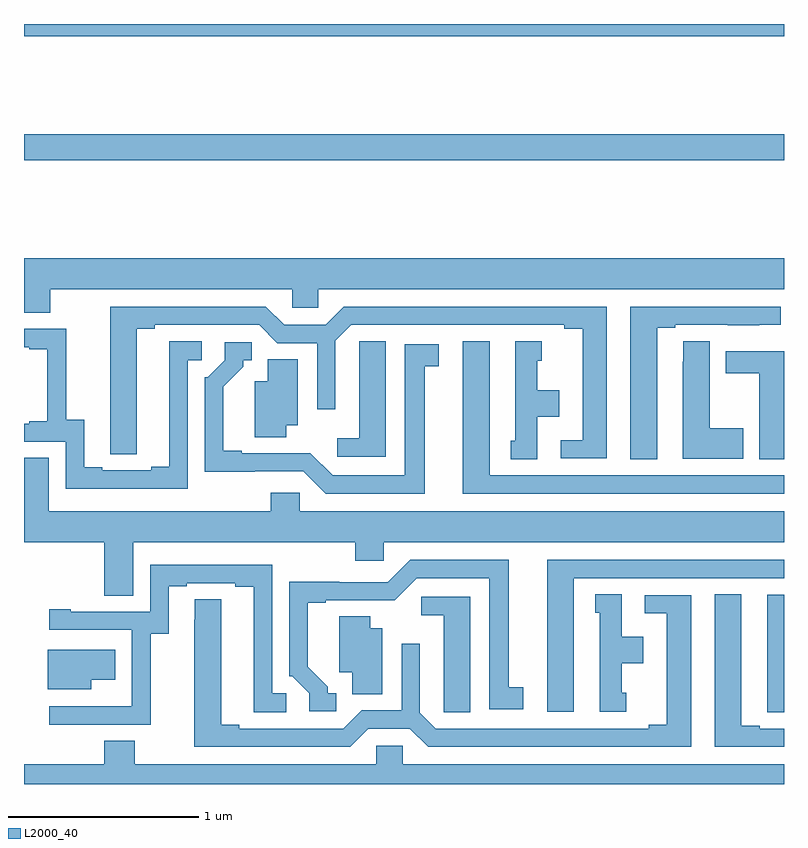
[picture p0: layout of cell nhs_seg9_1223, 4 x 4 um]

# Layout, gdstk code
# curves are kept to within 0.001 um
import gdstk
lib = gdstk.Library(unit=1e-6, precision=1e-09)
def R(c, l, rs):  # rectangles x0, y0, x1, y1
    for r in rs: c.add(gdstk.rectangle(r[:2], r[2:], *l))
def P(c, l, *ps):  # polygons
    for p in ps: c.add(gdstk.Polygon(p, *l))
L2000_40 = (2000, 40)

nhs_seg9_1223 = lib.new_cell('nhs_seg9_1223')
R(nhs_seg9_1223, L2000_40, [(179,1179.784,183,1179.92), (179,1180.436,183,1180.5)])
P(nhs_seg9_1223, L2000_40, [(179.139,1179.104),(180.411,1179.104),(180.411,1179.006),(180.549,1179.006),(180.549,1179.104),(183,1179.104),(183,1179.268),(179,1179.268),(179,1178.98),(179.139,1178.98)],
  [(182.332,1178.901),(182.428,1178.901),(182.428,1178.916),(182.704,1178.916),(182.704,1178.915),(182.87,1178.915),(182.87,1178.916),(182.983,1178.916),(182.983,1179.012),(182.192,1179.012),(182.192,1178.209),(182.332,1178.209)],
  [(182.068,1179.012),(180.683,1179.012),(180.587,1178.916),(180.369,1178.916),(180.273,1179.012),(179.453,1179.012),(179.454,1178.236),(179.593,1178.236),(179.593,1178.896),(179.689,1178.896),(179.689,1178.916),(180.237,1178.916),(180.333,1178.82),(180.543,1178.82),(180.543,1178.472),(180.639,1178.472),(180.639,1178.832),(180.723,1178.916),(181.844,1178.916),(181.844,1178.896),(181.94,1178.896),(181.94,1178.31),(181.824,1178.31),(181.824,1178.214),(182.068,1178.214)],
  [(179.862,1178.73),(179.935,1178.73),(179.935,1178.831),(179.765,1178.831),(179.765,1178.171),(179.669,1178.171),(179.669,1178.151),(179.413,1178.151),(179.413,1178.166),(179.317,1178.166),(179.317,1178.417),(179.223,1178.417),(179.223,1178.895),(179,1178.895),(179,1178.799),(179.027,1178.799),(179.027,1178.787),(179.123,1178.787),(179.123,1178.41),(179.027,1178.41),(179.027,1178.397),(179,1178.397),(179,1178.301),(179.22,1178.301),(179.22,1178.055),(179.862,1178.055)],
  [(180.904,1178.831),(180.765,1178.831),(180.765,1178.723),(180.764,1178.723),(180.764,1178.32),(180.648,1178.32),(180.648,1178.223),(180.904,1178.223)],
  [(182.785,1178.373),(182.608,1178.373),(182.608,1178.831),(182.469,1178.831),(182.469,1178.723),(182.468,1178.723),(182.468,1178.213),(182.785,1178.213)],
  [(181.702,1178.432),(181.816,1178.432),(181.816,1178.572),(181.702,1178.572),(181.702,1178.727),(181.726,1178.727),(181.726,1178.83),(181.586,1178.83),(181.586,1178.307),(181.562,1178.307),(181.562,1178.209),(181.702,1178.209)],
  [(183,1178.124),(181.45,1178.124),(181.45,1178.83),(181.31,1178.83),(181.31,1178.028),(183,1178.028)],
  [(181.108,1178.698),(181.183,1178.698),(181.183,1178.814),(181.004,1178.814),(181.004,1178.124),(180.624,1178.124),(180.506,1178.242),(180.145,1178.241),(180.145,1178.254),(180.049,1178.254),(180.049,1178.59),(180.154,1178.695),(180.154,1178.73),(180.199,1178.73),(180.199,1178.826),(180.057,1178.826),(180.057,1178.73),(179.967,1178.64),(179.952,1178.64),(179.952,1178.144),(180.471,1178.145),(180.588,1178.028),(181.108,1178.028)],
  [(183,1178.778),(182.693,1178.778),(182.693,1178.662),(182.87,1178.662),(182.87,1178.209),(183,1178.209)],
  [(180.379,1178.387),(180.442,1178.387),(180.442,1178.735),(180.284,1178.735),(180.284,1178.62),(180.215,1178.62),(180.215,1178.326),(180.379,1178.326)],
  [(179.575,1177.772),(180.743,1177.772),(180.743,1177.674),(180.894,1177.674),(180.894,1177.772),(183,1177.772),(183,1177.936),(180.45,1177.936),(180.45,1178.034),(180.299,1178.034),(180.299,1177.936),(179.131,1177.936),(179.131,1178.216),(179,1178.216),(179,1177.772),(179.423,1177.772),(179.423,1177.492),(179.575,1177.492)],
  [(180.643,1176.978),(180.598,1176.978),(180.598,1177.013),(180.493,1177.118),(180.493,1177.455),(180.589,1177.455),(180.589,1177.467),(180.95,1177.466),(181.068,1177.584),(181.448,1177.584),(181.448,1176.894),(181.627,1176.894),(181.627,1177.01),(181.552,1177.01),(181.552,1177.68),(181.032,1177.68),(180.915,1177.563),(180.659,1177.563),(180.659,1177.565),(180.396,1177.565),(180.396,1177.068),(180.411,1177.068),(180.501,1176.978),(180.501,1176.882),(180.643,1176.882)],
  [(181.894,1177.584),(183,1177.584),(183,1177.68),(181.754,1177.68),(181.754,1176.879),(181.894,1176.879)],
  [(179.667,1177.291),(179.761,1177.291),(179.761,1177.542),(179.857,1177.542),(179.857,1177.557),(180.113,1177.557),(180.113,1177.537),(180.209,1177.537),(180.209,1176.877),(180.379,1176.877),(180.379,1176.978),(180.306,1176.978),(180.306,1177.653),(179.664,1177.653),(179.664,1177.407),(179.245,1177.407),(179.245,1177.42),(179.133,1177.42),(179.133,1177.311),(179.568,1177.311),(179.568,1176.91),(179.567,1176.91),(179.567,1176.909),(179.133,1176.909),(179.133,1176.813),(179.667,1176.813)],
  [(182.17,1176.981),(182.146,1176.981),(182.146,1177.136),(182.26,1177.136),(182.26,1177.276),(182.146,1177.276),(182.146,1177.499),(182.006,1177.499),(182.006,1177.401),(182.03,1177.401),(182.03,1176.879),(182.17,1176.879)],
  [(183,1176.792),(182.872,1176.792),(182.872,1176.807),(182.776,1176.807),(182.776,1177.499),(182.636,1177.499),(182.636,1176.696),(183,1176.696)],
  [(183,1177.495),(182.912,1177.495),(182.912,1176.985),(182.913,1176.985),(182.913,1176.877),(183,1176.877)],
  [(180.813,1176.792),(181.031,1176.792),(181.127,1176.696),(182.512,1176.696),(182.512,1177.494),(182.268,1177.494),(182.268,1177.398),(182.384,1177.398),(182.384,1176.812),(182.288,1176.812),(182.288,1176.792),(181.167,1176.792),(181.083,1176.876),(181.083,1177.237),(180.987,1177.237),(180.987,1176.888),(180.777,1176.888),(180.681,1176.792),(180.133,1176.792),(180.133,1176.812),(180.037,1176.812),(180.037,1177.472),(179.898,1177.472),(179.897,1176.696),(180.717,1176.696)],
  [(181.348,1177.485),(181.092,1177.485),(181.092,1177.388),(181.208,1177.388),(181.208,1176.985),(181.209,1176.985),(181.209,1176.877),(181.348,1176.877)],
  [(180.886,1177.321),(180.823,1177.321),(180.823,1177.382),(180.659,1177.382),(180.659,1177.088),(180.728,1177.088),(180.728,1176.973),(180.886,1176.973)],
  [(179.353,1177.049),(179.479,1177.049),(179.479,1177.207),(179.126,1177.207),(179.126,1176.998),(179.353,1176.998)],
  [(183,1176.604),(180.993,1176.604),(180.993,1176.702),(180.855,1176.702),(180.855,1176.604),(179.583,1176.604),(179.583,1176.728),(179.423,1176.728),(179.423,1176.604),(179,1176.604),(179,1176.5),(183,1176.5)])

lib.write_gds('nhs_seg9_1223.gds')
